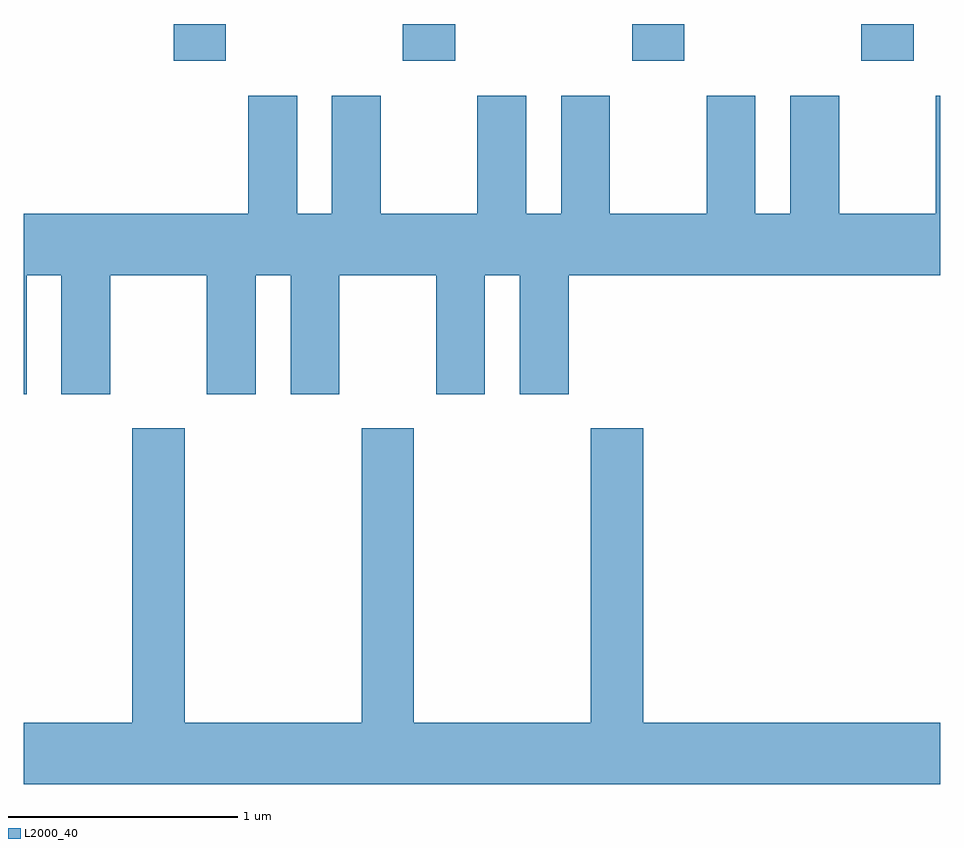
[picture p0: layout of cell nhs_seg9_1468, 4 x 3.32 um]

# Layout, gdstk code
import gdstk
lib = gdstk.Library(unit=1e-6, precision=1e-09)
def R(c, l, rs):  # rectangles x0, y0, x1, y1
    for r in rs: c.add(gdstk.rectangle(r[:2], r[2:], *l))
def A(c, l, x, y, w, h, nx, ny, dx, dy):  # array of equal rectangles
    R(c, l, [(x+i*dx, y+j*dy, x+i*dx+w, y+j*dy+h) for i in range(nx) for j in range(ny)])
def P(c, l, *ps):  # polygons
    for p in ps: c.add(gdstk.Polygon(p, *l))
L2000_40 = (2000, 40)

nhs_seg9_1468 = lib.new_cell('nhs_seg9_1468')
A(nhs_seg9_1468, L2000_40, 228.266, 2028.271, 0.228, 0.161, 4, 1, 1, 0)
P(nhs_seg9_1468, L2000_40, [(227.624,2027.336),(227.776,2027.336),(227.776,2026.816),(227.989,2026.816),(227.989,2027.336),(228.411,2027.336),(228.411,2026.816),(228.624,2026.816),(228.624,2027.336),(228.776,2027.336),(228.776,2026.816),(228.989,2026.816),(228.989,2027.336),(229.411,2027.336),(229.411,2026.816),(229.624,2026.816),(229.624,2027.336),(229.776,2027.336),(229.776,2026.816),(229.989,2026.816),(229.989,2027.336),(231.611,2027.336),(231.611,2028.119),(231.591,2028.119),(231.591,2027.604),(231.169,2027.604),(231.169,2028.119),(230.956,2028.119),(230.956,2027.604),(230.804,2027.604),(230.804,2028.119),(230.591,2028.119),(230.591,2027.604),(230.169,2027.604),(230.169,2028.119),(229.956,2028.119),(229.956,2027.604),(229.804,2027.604),(229.804,2028.119),(229.591,2028.119),(229.591,2027.604),(229.169,2027.604),(229.169,2028.119),(228.956,2028.119),(228.956,2027.604),(228.804,2027.604),(228.804,2028.119),(228.591,2028.119),(228.591,2027.604),(227.611,2027.604),(227.611,2026.816),(227.624,2026.816)],
  [(231.611,2025.384),(230.314,2025.384),(230.314,2026.669),(230.086,2026.669),(230.086,2025.384),(229.314,2025.384),(229.314,2026.669),(229.086,2026.669),(229.086,2025.384),(228.314,2025.384),(228.314,2026.669),(228.086,2026.669),(228.086,2025.384),(227.611,2025.384),(227.611,2025.116),(231.611,2025.116)])

lib.write_gds('nhs_seg9_1468.gds')
